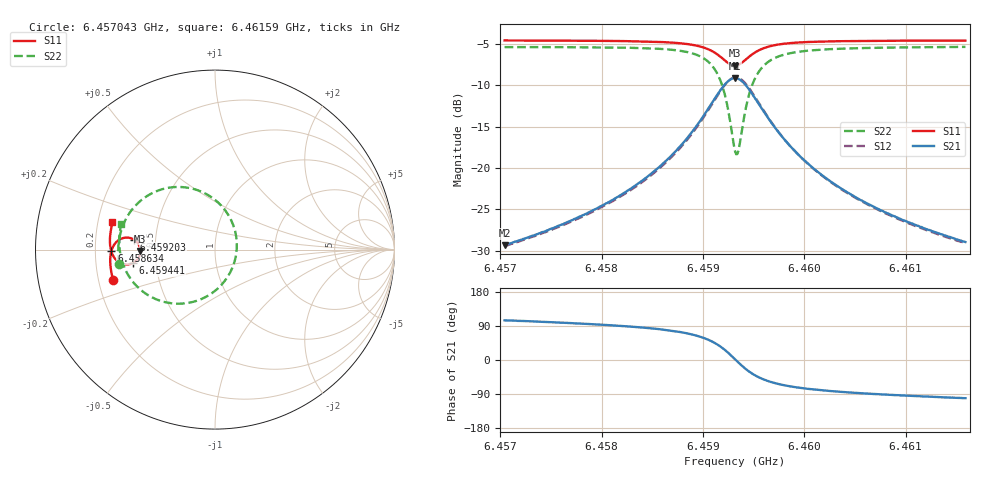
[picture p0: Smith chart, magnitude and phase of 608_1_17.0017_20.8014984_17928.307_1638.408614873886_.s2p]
#  HZ  S  RI  R  50.00
! Rohde & Schwarz Vector Network Analyzer
! Rohde-Schwarz,ZNB20-2Port,1311601062101988,3.16
! Created: UTC 3/20/2024, 11:19:18 PM
! freq[Hz]  re:S11  im:S11  re:S21  im:S21  re:S12  im:S12  re:S22  im:S22
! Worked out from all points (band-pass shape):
!   401 points, 6.457043 GHz to 6.46159 GHz, reference 50 ohm
!   highest |S21| = -9.11 dB at 6.459316 GHz (marker M1); lowest = -29.4 dB at 6.457043 GHz (marker M2)
!   |S21| within 3 dB of the highest: 6.459089 GHz to 6.459544 GHz (455.2 kHz wide, 0.00705 % of centre)
!   lowest |S11| = -7.6 dB at 6.459316 GHz (marker M3), VSWR 2.42, Z = 20.6 - j0.399 ohm
!   |S11| at or under -10 dB: nowhere
!   |S22| runs from -18.3 to -5.3 dB; largest |S21 - S12| = 0.014
!   S11 on the Smith chart (normalised r, x): 6.457043 GHz: 0.26, -0.13; 6.458634 GHz: 0.27, -0.01; 6.459203 GHz: 0.38, +0.05; 6.459441 GHz: 0.37, -0.07; 6.46159 GHz: 0.26, +0.12
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6.4570426e9  -0.5681 -0.1672  -0.00862 0.033  -0.00692 0.0329  -0.5341 -0.0788
6.4578043e9  -0.5814 -0.1003  -0.00523 0.0511  -0.00267 0.0504  -0.5386 0.0114
6.4582249e9  -0.5839 -0.0579  0.000904 0.0708  0.00416 0.0694  -0.5298 0.0787
6.458566e9  -0.5798 -0.0168  0.015 0.0999  0.0191 0.0971  -0.5032 0.1568
6.4586342e9  -0.5774 -0.00736  0.0206 0.1084  0.0247 0.1051  -0.4931 0.1769
6.4588274e9  -0.5646 0.0231  0.0477 0.1394  0.0517 0.1345  -0.4421 0.2462
6.4589752e9  -0.5416 0.0493  0.0938 0.1702  0.0967 0.1632  -0.3572 0.3109
6.4591116e9  -0.4972 0.0667  0.1819 0.1865  0.1827 0.179  -0.1956 0.349
6.4592026e9  -0.4521 0.0559  0.2728 0.1544  0.2729 0.1485  -0.027 0.2968
6.4592708e9  -0.4228 0.0233  0.3336 0.0813  0.3359 0.076  0.0896 0.1648
6.4593163e9  -0.4159 -0.008  0.35 0.0124  0.3539 0.00553  0.1215 0.0357
6.4593504e9  -0.4199 -0.032  0.3439 -0.0407  0.348 -0.0499  0.1095 -0.0653
6.4593958e9  -0.4358 -0.0585  0.3147 -0.1013  0.317 -0.1134  0.0502 -0.1799
6.4594413e9  -0.4582 -0.075  0.2718 -0.1426  0.2709 -0.1562  -0.0368 -0.2556
6.4595323e9  -0.5022 -0.0819  0.1858 -0.1739  0.1794 -0.1856  -0.2088 -0.3016
6.4596005e9  -0.5267 -0.0745  0.1367 -0.1716  0.1284 -0.1807  -0.3035 -0.2857
6.4596801e9  -0.5465 -0.0614  0.0965 -0.1593  0.0879 -0.1656  -0.3786 -0.2502
6.4598392e9  -0.5682 -0.0334  0.0513 -0.1307  0.0435 -0.1334  -0.4597 -0.1768
6.4600779e9  -0.5809 0.00216  0.0221 -0.0985  0.0162 -0.0992  -0.5078 -0.0931
6.4604417e9  -0.5855 0.0455  0.00545 -0.07  0.00138 -0.0694  -0.5298 -0.00916
6.4608396e9  -0.5834 0.0855  -0.00173 -0.0525  -0.00459 -0.0516  -0.5331 0.0552
6.4615899e9  -0.5713 0.1521  -0.00662 -0.035  -0.00847 -0.034  -0.5216 0.1446
